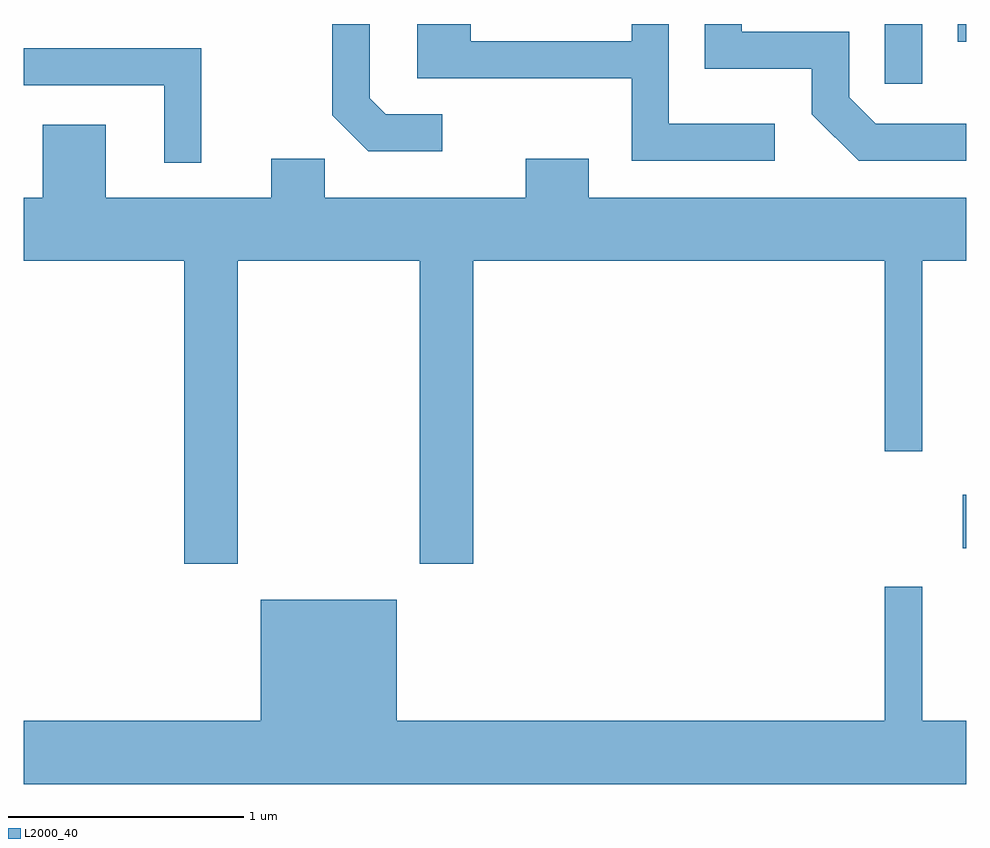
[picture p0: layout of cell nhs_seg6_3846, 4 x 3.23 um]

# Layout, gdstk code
import gdstk
lib = gdstk.Library(unit=1e-6, precision=1e-09)
def R(c, l, rs):  # rectangles x0, y0, x1, y1
    for r in rs: c.add(gdstk.rectangle(r[:2], r[2:], *l))
def P(c, l, *ps):  # polygons
    for p in ps: c.add(gdstk.Polygon(p, *l))
L2000_40 = (2000, 40)

nhs_seg6_3846 = lib.new_cell('nhs_seg6_3846')
R(nhs_seg6_3846, L2000_40, [(305.596,1539.936,305.611,1540.164), (305.266,1541.908,305.424,1542.162), (305.576,1542.086,305.611,1542.162)])
P(nhs_seg6_3846, L2000_40, [(304.798,1541.739),(304.349,1541.739),(304.349,1542.162),(304.191,1542.162),(304.191,1542.089),(303.509,1542.089),(303.509,1542.162),(303.281,1542.162),(303.281,1541.931),(304.191,1541.931),(304.191,1541.581),(304.798,1541.581)],
  [(303.388,1541.779),(303.147,1541.779),(303.079,1541.847),(303.079,1542.162),(302.921,1542.162),(302.921,1541.774),(303.074,1541.621),(303.388,1541.621)],
  [(305.611,1541.739),(305.227,1541.739),(305.114,1541.852),(305.114,1542.129),(304.659,1542.129),(304.659,1542.162),(304.501,1542.162),(304.501,1541.971),(304.956,1541.971),(304.956,1541.779),(305.154,1541.581),(305.611,1541.581)],
  [(302.364,1542.059),(301.611,1542.059),(301.611,1541.901),(302.206,1541.901),(302.206,1541.573),(302.364,1541.573)],
  [(302.519,1541.156),(303.291,1541.156),(303.291,1539.871),(303.519,1539.871),(303.519,1541.156),(305.266,1541.156),(305.266,1540.348),(305.424,1540.348),(305.424,1541.156),(305.611,1541.156),(305.611,1541.424),(304.009,1541.424),(304.009,1541.589),(303.741,1541.589),(303.741,1541.424),(302.889,1541.424),(302.889,1541.589),(302.661,1541.589),(302.661,1541.424),(301.959,1541.424),(301.959,1541.734),(301.691,1541.734),(301.691,1541.424),(301.611,1541.424),(301.611,1541.156),(302.291,1541.156),(302.291,1539.871),(302.519,1539.871)],
  [(305.611,1539.204),(305.424,1539.204),(305.424,1539.773),(305.266,1539.773),(305.266,1539.204),(303.194,1539.204),(303.194,1539.719),(302.616,1539.719),(302.616,1539.204),(301.611,1539.204),(301.611,1538.936),(305.611,1538.936)])

lib.write_gds('nhs_seg6_3846.gds')
